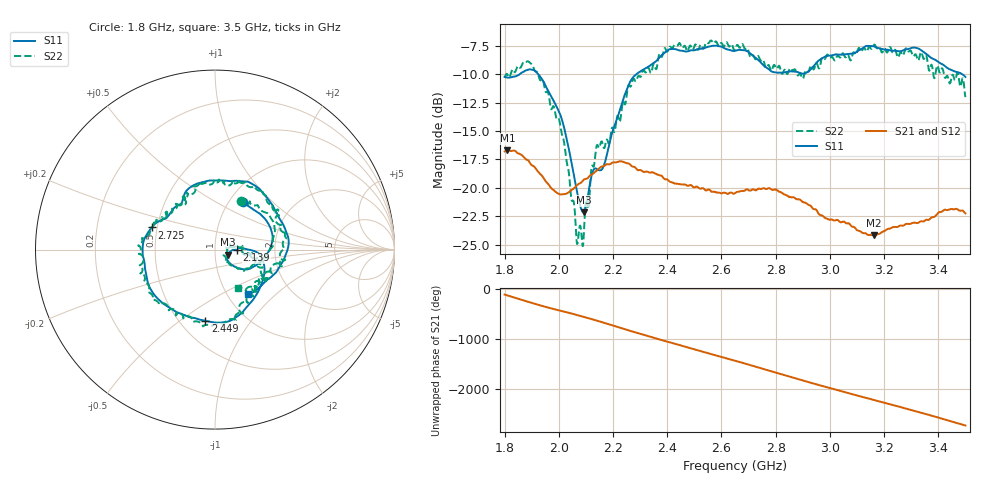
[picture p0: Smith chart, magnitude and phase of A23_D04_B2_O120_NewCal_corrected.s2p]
! Created with skrf 1.9.0 (http://scikit-rf.org).
# Hz S RI R 50.0
!freq ReS11 ImS11 ReS21 ImS21 ReS12 ImS12 ReS22 ImS22
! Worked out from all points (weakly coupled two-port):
!   1601 points, 1.8 GHz to 3.5 GHz, reference 50 ohm
!   highest |S21| = -16.69 dB at 1.811 GHz (marker M1); lowest = -24.2 dB at 3.162 GHz (marker M2)
!   lowest |S11| = -22.1 dB at 2.091 GHz (marker M3), VSWR 1.17, Z = 57.7 - j3.33 ohm
!   |S11| at or under -10 dB: start of sweep to 1.856 GHz; 1.924 GHz to 2.287 GHz (363.1 MHz wide, 17.2 % of centre); 3.488332 GHz to end of sweep
!   |S22| runs from -25.1 to -7.0 dB; largest |S21 - S12| = 0.0022
!   S11 on the Smith chart (normalised r, x): 1.8 GHz: 1.16, +0.68; 2.139 GHz: 1.28, -0.01; 2.449 GHz: 0.66, -0.63; 2.725 GHz: 0.47, +0.13; 3.5 GHz: 1.25, -0.68
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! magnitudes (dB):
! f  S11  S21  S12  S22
! 1.8 GHz  -10.2  -16.8  -16.8  -10.3
! 1.811 GHz  -10.3  -16.7  -16.7  -10.0
! 1.885 GHz  -9.6  -17.5  -17.6  -8.9
! 1.941 GHz  -10.6  -19.0  -19.0  -10.5
! 2.007 GHz  -13.7  -20.6  -20.5  -14.8
! 2.066 GHz  -20.1  -19.8  -19.8  -24.6
! 2.084 GHz  -21.9  -19.5  -19.5  -24.1
! 2.091 GHz  -22.1  -19.3  -19.3  -24.6
! 2.139 GHz  -18.3  -18.5  -18.5  -16.3
! 2.166 GHz  -18.1  -18.1  -18.0  -16.5
! 2.265 GHz  -10.6  -18.0  -18.0  -11.1
! 2.367 GHz  -8.6  -18.9  -18.8  -8.5
! 2.449 GHz  -7.9  -19.7  -19.7  -7.4
! 2.65 GHz  -8.0  -20.5  -20.4  -7.9
! 2.725 GHz  -8.6  -20.2  -20.2  -8.7
! 2.797 GHz  -9.8  -20.1  -20.1  -9.2
! 2.898 GHz  -10.0  -21.2  -21.2  -10.3
! 2.934 GHz  -9.5  -21.7  -21.7  -9.3
! 3.162 GHz  -7.6  -24.2  -24.1  -7.5
! 3.217 GHz  -7.9  -23.6  -23.5  -7.8
! 3.345 GHz  -8.0  -22.9  -22.9  -8.6
! 3.5 GHz  -10.2  -22.2  -22.2  -12.0
